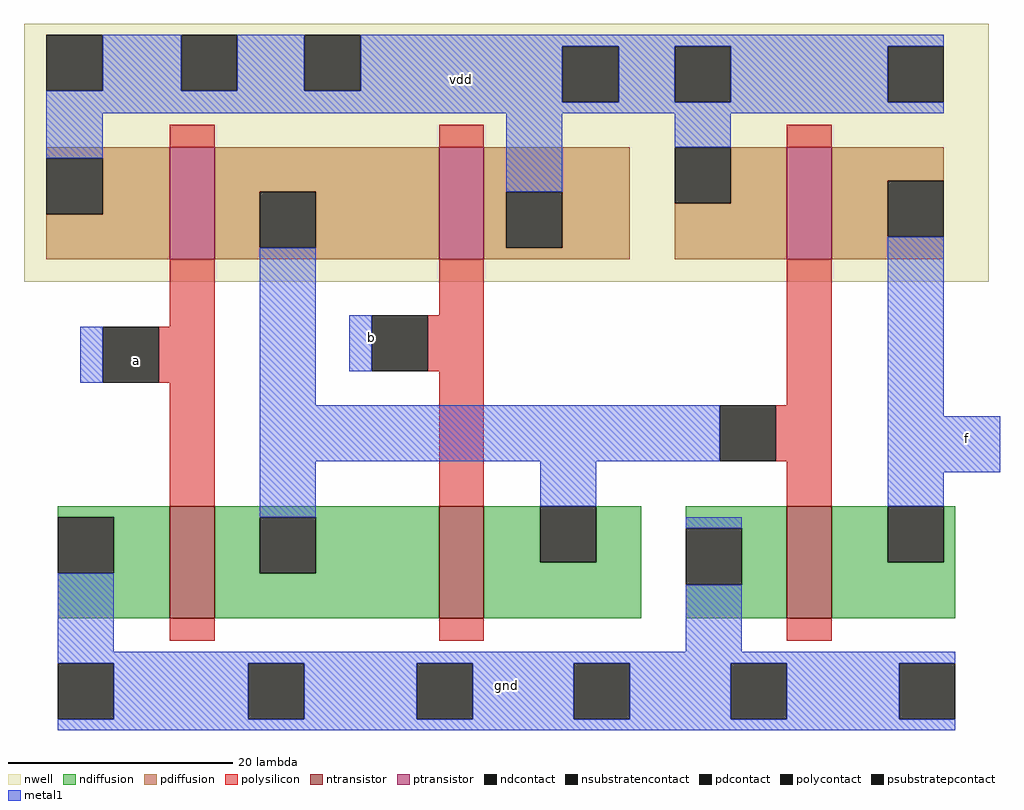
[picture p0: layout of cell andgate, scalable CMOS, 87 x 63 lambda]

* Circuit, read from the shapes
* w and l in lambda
.subckt andgate a b f gnd vdd
M1 n1 a gnd gnd nfet w=10 l=4
M2 n1 b n1 gnd nfet w=10 l=4
M3 f n1 gnd gnd nfet w=10 l=4
M4 n1 a vdd vdd pfet w=10 l=4
M5 vdd b n1 vdd pfet w=10 l=4
M6 f n1 vdd vdd pfet w=10 l=4
.ends

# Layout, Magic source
magic
tech scmos
<< nwell >>
rect 0 0 86 23
<< polysilicon >>
rect 13 12 17 14
rect 37 12 41 14
rect 68 12 72 14
rect 13 -4 17 2
rect 37 -3 41 2
rect 12 -9 17 -4
rect 36 -8 41 -3
rect 13 -20 17 -9
rect 37 -20 41 -8
rect 68 -11 72 2
rect 67 -16 72 -11
rect 68 -20 72 -16
rect 13 -32 17 -30
rect 37 -32 41 -30
rect 68 -32 72 -30
<< ndiffusion >>
rect 3 -21 13 -20
rect 8 -26 13 -21
rect 3 -30 13 -26
rect 17 -21 37 -20
rect 17 -26 21 -21
rect 26 -26 37 -21
rect 17 -30 37 -26
rect 41 -25 46 -20
rect 51 -25 55 -20
rect 41 -30 55 -25
rect 59 -22 68 -20
rect 64 -27 68 -22
rect 59 -30 68 -27
rect 72 -25 77 -20
rect 82 -25 83 -20
rect 72 -30 83 -25
<< pdiffusion >>
rect 2 11 13 12
rect 7 6 13 11
rect 2 2 13 6
rect 17 8 37 12
rect 17 3 21 8
rect 26 3 37 8
rect 17 2 37 3
rect 41 8 54 12
rect 41 3 43 8
rect 48 3 54 8
rect 41 2 54 3
rect 63 7 68 12
rect 58 2 68 7
rect 72 9 82 12
rect 72 4 77 9
rect 72 2 82 4
<< metal1 >>
rect 7 17 14 22
rect 19 17 25 22
rect 30 21 82 22
rect 30 17 48 21
rect 2 16 48 17
rect 53 16 58 21
rect 63 16 77 21
rect 2 15 82 16
rect 2 11 7 15
rect 43 8 48 15
rect 58 12 63 15
rect 5 -9 7 -4
rect 21 -11 26 3
rect 29 -8 31 -3
rect 21 -16 62 -11
rect 77 -12 82 4
rect 21 -21 26 -16
rect 46 -20 51 -16
rect 77 -17 87 -12
rect 77 -20 82 -17
rect 59 -22 64 -21
rect 3 -33 8 -26
rect 59 -33 64 -27
rect 3 -34 83 -33
rect 8 -39 20 -34
rect 25 -39 35 -34
rect 40 -39 49 -34
rect 54 -39 63 -34
rect 68 -39 78 -34
rect 3 -40 83 -39
<< ntransistor >>
rect 13 -30 17 -20
rect 37 -30 41 -20
rect 68 -30 72 -20
<< ptransistor >>
rect 13 2 17 12
rect 37 2 41 12
rect 68 2 72 12
<< polycontact >>
rect 7 -9 12 -4
rect 31 -8 36 -3
rect 62 -16 67 -11
<< ndcontact >>
rect 3 -26 8 -21
rect 21 -26 26 -21
rect 46 -25 51 -20
rect 59 -27 64 -22
rect 77 -25 82 -20
<< pdcontact >>
rect 2 6 7 11
rect 21 3 26 8
rect 43 3 48 8
rect 58 7 63 12
rect 77 4 82 9
<< psubstratepcontact >>
rect 3 -39 8 -34
rect 20 -39 25 -34
rect 35 -39 40 -34
rect 49 -39 54 -34
rect 63 -39 68 -34
rect 78 -39 83 -34
<< nsubstratencontact >>
rect 2 17 7 22
rect 14 17 19 22
rect 25 17 30 22
rect 48 16 53 21
rect 58 16 63 21
rect 77 16 82 21
<< labels >>
rlabel metal1 39 18 39 18 5 vdd
rlabel polycontact 10 -7 10 -7 1 a
rlabel polycontact 31 -5 31 -5 1 b
rlabel metal1 84 -14 84 -14 7 f
rlabel metal1 43 -36 43 -36 1 gnd
<< end >>
